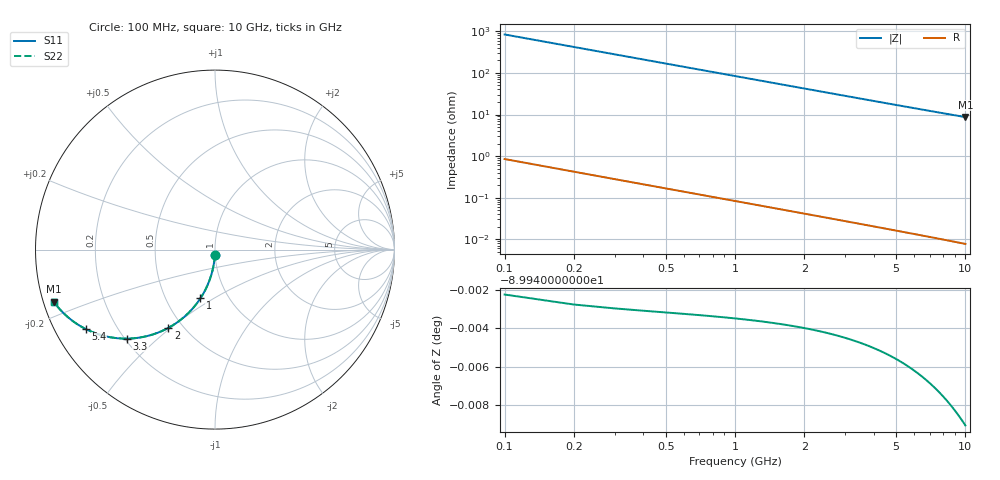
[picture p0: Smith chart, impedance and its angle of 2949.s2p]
# Hz S RI R 50.00
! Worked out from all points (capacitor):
!   100 points, 100 MHz to 10 GHz, reference 50 ohm
!   read as one part in shunt: C = 1.89 pF near 100 MHz
!   lowest |Z| = 8.67 ohm at 10 GHz (marker M1)
!   S11 on the Smith chart (normalised r, x): 100 MHz: 1.00, -0.06; 1 GHz: 0.74, -0.44; 2 GHz: 0.42, -0.49; 3.3 GHz: 0.21, -0.40; 5.4 GHz: 0.09, -0.28; 10 GHz: 0.03, -0.16
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1e8  -0.000874 -0.0295  0.9991 -0.0298  0.9991 -0.0298  -0.000874 -0.0295
2e8  -0.00353 -0.0589  0.9964 -0.0593  0.9964 -0.0593  -0.00353 -0.0589
3e8  -0.00791 -0.088  0.992 -0.0886  0.992 -0.0886  -0.00791 -0.088
4e8  -0.014 -0.1166  0.986 -0.1174  0.986 -0.1174  -0.014 -0.1166
5e8  -0.0216 -0.1446  0.9783 -0.1457  0.9783 -0.1457  -0.0216 -0.1446
6e8  -0.0309 -0.1719  0.9691 -0.1731  0.9691 -0.1731  -0.0309 -0.1719
7e8  -0.0415 -0.1983  0.9584 -0.1998  0.9584 -0.1998  -0.0415 -0.1983
8e8  -0.0535 -0.2238  0.9464 -0.2255  0.9464 -0.2255  -0.0535 -0.2238
1e9  -0.0811 -0.2715  0.9188 -0.2736  0.9188 -0.2736  -0.0811 -0.2715
1.2e9  -0.1127 -0.3145  0.8872 -0.317  0.8872 -0.317  -0.1127 -0.3145
1.4e9  -0.1473 -0.3525  0.8526 -0.3555  0.8526 -0.3555  -0.1473 -0.3525
1.8e9  -0.222 -0.4133  0.7779 -0.417  0.7779 -0.417  -0.222 -0.4133
2e9  -0.2605 -0.4363  0.7394 -0.4405  0.7394 -0.4405  -0.2605 -0.4363
2.6e9  -0.3729 -0.4804  0.627 -0.4858  0.627 -0.4858  -0.3729 -0.4804
3.3e9  -0.4891 -0.4959  0.5108 -0.5029  0.5108 -0.5029  -0.4891 -0.4959
3.4e9  -0.504 -0.4959  0.4959 -0.5031  0.4959 -0.5031  -0.504 -0.4959
4.2e9  -0.6078 -0.4833  0.3921 -0.4922  0.3921 -0.4922  -0.6078 -0.4833
5.1e9  -0.6955 -0.4542  0.3044 -0.4651  0.3044 -0.4651  -0.6955 -0.4542
5.4e9  -0.7192 -0.4431  0.2807 -0.4546  0.2807 -0.4546  -0.7192 -0.4431
6.7e9  -0.7977 -0.394  0.2021 -0.4083  0.2021 -0.4083  -0.7977 -0.394
8.4e9  -0.8612 -0.336  0.1385 -0.3541  0.1385 -0.3541  -0.8612 -0.336
1e10  -0.8981 -0.2909  0.1016 -0.3126  0.1016 -0.3126  -0.8981 -0.2909
